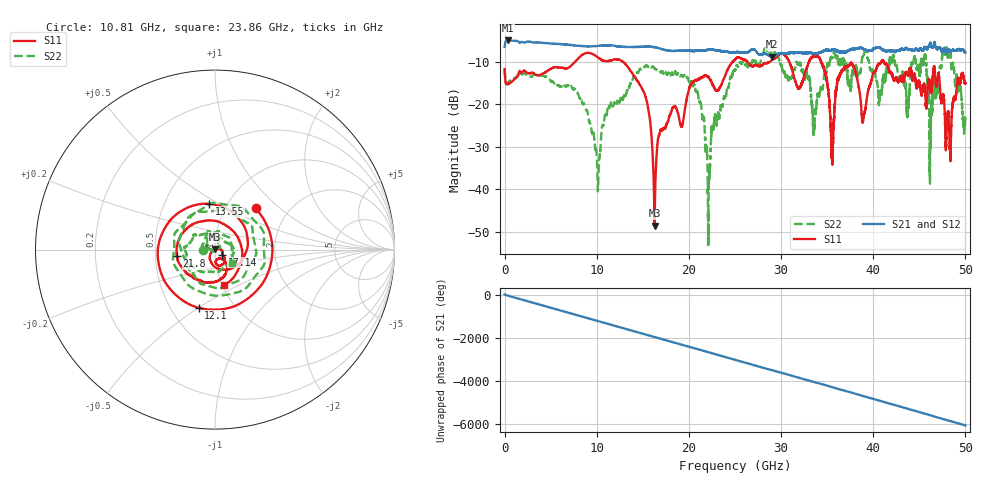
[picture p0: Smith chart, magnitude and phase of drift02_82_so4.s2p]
!Created with skrf (http://scikit-rf.org).
# Hz S RI R 50.0
!freq ReS11 ImS11 ReS21 ImS21 ReS12 ImS12 ReS22 ImS22
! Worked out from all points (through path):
!   10001 points, 300 kHz to 50 GHz, reference 50 ohm
!   highest |S21| = -5.04 dB at 325.3 MHz (marker M1); lowest = -8.9 dB at 28.98 GHz (marker M2)
!   group delay of S21, straight-line fit = 336 ps
!   lowest |S11| = -48.6 dB at 16.27 GHz (marker M3), VSWR 1.01, Z = 49.8 + j0.33 ohm
!   |S11| at or under -10 dB: start of sweep to 7.668 GHz; 12.82 GHz to 24.78 GHz (11.96 GHz wide, 63.6 % of centre); 41.14 GHz to end of sweep (the widest 3 of 10)
!   |S22| runs from -53.4 to -6.7 dB; largest |S21 - S12| = 0.032
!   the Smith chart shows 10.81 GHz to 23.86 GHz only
!   S11 on the Smith chart (normalised r, x): 10.81 GHz: 1.38, +0.70; 12.1 GHz: 0.68, -0.50; 13.55 GHz: 0.83, +0.45; 17.14 GHz: 1.09, -0.06; 21.8 GHz: 0.65, -0.05; 23.86 GHz: 1.01, -0.42
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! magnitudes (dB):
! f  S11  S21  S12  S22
! 300 kHz  -11.8  -6.5  -6.5  -11.6
! 325.3 MHz  -15.3  -5.0  -5.0  -15.1
! 8.335 GHz  -8.6  -6.4  -6.4  -19.1
! 10.11 GHz  -9.0  -6.3  -6.3  -39.4
! 10.81 GHz  -9.8  -6.2  -6.2  -23.6
! 12.1 GHz  -9.5  -6.4  -6.4  -20.4
! 13.55 GHz  -11.8  -6.6  -6.6  -15.9
! 16.27 GHz  -48.6  -6.6  -6.6  -11.7
! 16.67 GHz  -28.0  -6.8  -6.8  -12.1
! 17.14 GHz  -26.0  -7.1  -7.1  -12.4
! 21.8 GHz  -13.4  -7.3  -7.3  -30.1
! 23.86 GHz  -13.7  -7.6  -7.6  -18.3
! 25 GHz  -9.5  -7.8  -7.8  -12.0
! 28.98 GHz  -9.7  -8.9  -8.8  -7.9
! 33.34 GHz  -9.1  -8.0  -8.0  -19.9
! 35.55 GHz  -32.4  -7.2  -7.2  -9.1
! 36.78 GHz  -11.9  -7.9  -7.9  -9.8
! 41.67 GHz  -11.8  -7.4  -7.5  -11.8
! 45.49 GHz  -15.5  -7.1  -7.0  -9.8
! 46.25 GHz  -17.0  -6.0  -6.1  -21.8
! 48.12 GHz  -22.6  -7.2  -7.1  -9.1
! 50 GHz  -15.1  -7.9  -7.8  -23.0
